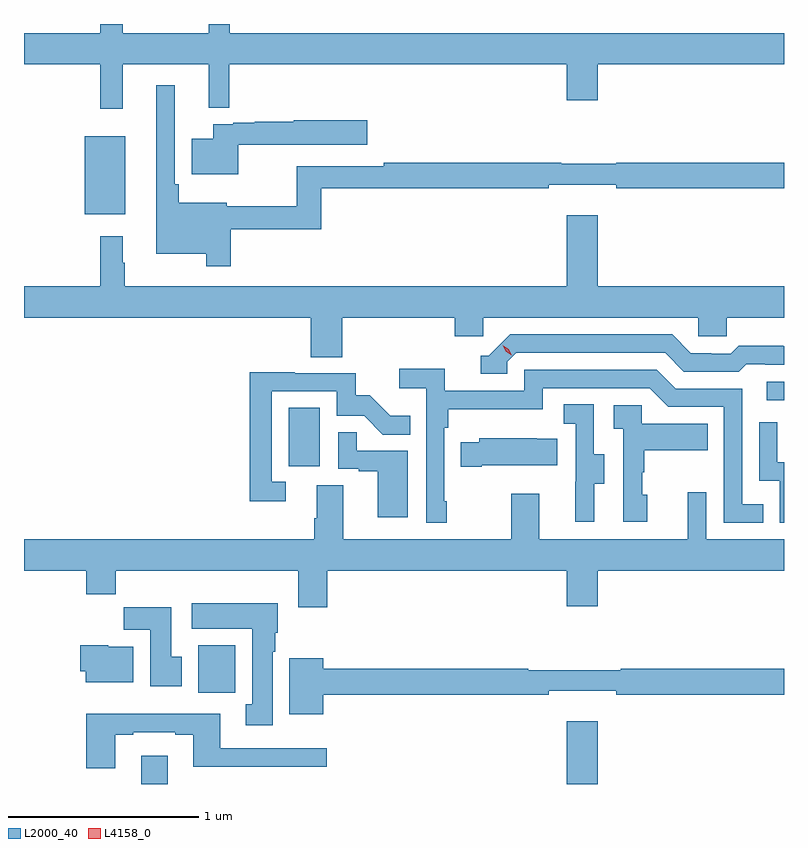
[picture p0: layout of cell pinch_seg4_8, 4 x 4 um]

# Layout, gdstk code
import gdstk
lib = gdstk.Library(unit=1e-6, precision=1e-09)
def R(c, l, rs):  # rectangles x0, y0, x1, y1
    for r in rs: c.add(gdstk.rectangle(r[:2], r[2:], *l))
def P(c, l, *ps):  # polygons
    for p in ps: c.add(gdstk.Polygon(p, *l))
L2000_40 = (2000, 40)
L4158_0 = (4158, 0)

pinch_seg4_8 = lib.new_cell('pinch_seg4_8')
R(pinch_seg4_8, L2000_40, [(1097.831,813.013,1097.971,813.163), (1100.072,813.013,1100.236,813.343), (1098.131,813.492,1098.327,813.742), (1098.608,814.686,1098.772,814.993), (1101.123,815.034,1101.215,815.13), (1097.534,816.011,1097.749,816.421)])
P(pinch_seg4_8, L2000_40, [(1097.735,816.8),(1098.188,816.8),(1098.188,816.571),(1098.296,816.571),(1098.296,816.8),(1100.072,816.8),(1100.072,816.612),(1100.236,816.612),(1100.236,816.8),(1101.215,816.8),(1101.215,816.964),(1098.298,816.964),(1098.298,817.013),(1098.188,817.013),(1098.188,816.964),(1097.735,816.964),(1097.735,817.013),(1097.617,817.013),(1097.617,816.964),(1097.215,816.964),(1097.215,816.8),(1097.617,816.8),(1097.617,816.567),(1097.735,816.567)],
  [(1098.302,815.934),(1098.779,815.934),(1098.779,816.148),(1099.976,816.148),(1099.976,816.167),(1100.332,816.167),(1100.332,816.148),(1101.215,816.148),(1101.215,816.284),(1100.332,816.284),(1100.332,816.277),(1100.043,816.277),(1100.043,816.284),(1099.108,816.284),(1099.108,816.264),(1098.651,816.264),(1098.651,816.055),(1098.283,816.055),(1098.283,816.073),(1098.029,816.073),(1098.029,816.169),(1098.009,816.169),(1098.009,816.691),(1097.912,816.691),(1097.912,815.804),(1098.174,815.804),(1098.174,815.739),(1098.302,815.739)],
  [(1098.342,816.378),(1098.636,816.378),(1098.636,816.377),(1099.021,816.377),(1099.021,816.507),(1098.636,816.507),(1098.636,816.499),(1098.43,816.499),(1098.43,816.492),(1098.316,816.492),(1098.316,816.486),(1098.212,816.486),(1098.212,816.409),(1098.098,816.409),(1098.098,816.221),(1098.342,816.221)],
  [(1098.89,815.468),(1099.481,815.468),(1099.481,815.37),(1099.632,815.37),(1099.632,815.468),(1100.763,815.468),(1100.763,815.37),(1100.913,815.37),(1100.913,815.468),(1101.215,815.468),(1101.215,815.632),(1100.236,815.632),(1100.236,816.007),(1100.072,816.007),(1100.072,815.632),(1097.746,815.632),(1097.746,815.756),(1097.734,815.756),(1097.734,815.896),(1097.617,815.896),(1097.617,815.632),(1097.215,815.632),(1097.215,815.468),(1098.725,815.468),(1098.725,815.26),(1098.89,815.26)],
  [(1099.758,815.235),(1099.806,815.283),(1100.589,815.283),(1100.688,815.184),(1100.977,815.184),(1101.016,815.223),(1101.115,815.223),(1101.115,815.22),(1101.215,815.22),(1101.215,815.317),(1101.21,815.317),(1101.21,815.32),(1100.977,815.32),(1100.935,815.277),(1100.832,815.277),(1100.832,815.28),(1100.725,815.28),(1100.626,815.379),(1099.773,815.379),(1099.662,815.268),(1099.619,815.268),(1099.619,815.172),(1099.758,815.172)],
  [(1099.441,814.501),(1099.428,814.501),(1099.428,814.889),(1099.448,814.889),(1099.448,814.985),(1099.944,814.985),(1099.944,815.097),(1100.508,815.097),(1100.607,814.998),(1100.898,814.998),(1100.898,814.389),(1101.107,814.389),(1101.107,814.485),(1100.994,814.485),(1100.994,815.094),(1100.644,815.094),(1100.545,815.193),(1099.848,815.193),(1099.848,815.082),(1099.43,815.082),(1099.43,815.198),(1099.191,815.198),(1099.191,815.096),(1099.332,815.096),(1099.332,814.389),(1099.441,814.389)],
  [(1098.592,814.605),(1098.519,814.605),(1098.519,815.079),(1098.861,815.079),(1098.861,814.95),(1099.005,814.95),(1099.103,814.852),(1099.247,814.852),(1099.247,814.951),(1099.143,814.951),(1099.036,815.058),(1098.96,815.058),(1098.96,815.175),(1098.641,815.175),(1098.641,815.18),(1098.403,815.18),(1098.403,814.5),(1098.592,814.5)],
  [(1100.215,814.594),(1100.269,814.594),(1100.269,814.749),(1100.214,814.749),(1100.214,815.012),(1100.055,815.012),(1100.055,814.909),(1100.118,814.909),(1100.118,814.605),(1100.117,814.605),(1100.117,814.392),(1100.215,814.392)],
  [(1100.494,814.536),(1100.469,814.536),(1100.469,814.655),(1100.479,814.655),(1100.479,814.769),(1100.813,814.769),(1100.813,814.909),(1100.466,814.909),(1100.466,815.007),(1100.319,815.007),(1100.319,814.883),(1100.37,814.883),(1100.37,814.392),(1100.494,814.392)],
  [(1101.215,814.706),(1101.18,814.706),(1101.18,814.918),(1101.084,814.918),(1101.084,814.608),(1101.192,814.608),(1101.192,814.389),(1101.215,814.389)],
  [(1099.234,814.767),(1098.965,814.767),(1098.965,814.865),(1098.87,814.865),(1098.87,814.671),(1098.977,814.671),(1098.977,814.659),(1099.076,814.659),(1099.076,814.416),(1099.234,814.416)],
  [(1099.624,814.691),(1100.021,814.691),(1100.021,814.831),(1099.913,814.831),(1099.913,814.834),(1099.611,814.834),(1099.611,814.813),(1099.513,814.813),(1099.513,814.684),(1099.624,814.684)],
  [(1098.812,814.136),(1100.072,814.136),(1100.072,813.948),(1100.236,813.948),(1100.236,814.136),(1101.215,814.136),(1101.215,814.3),(1100.805,814.3),(1100.805,814.549),(1100.708,814.549),(1100.708,814.3),(1099.927,814.3),(1099.927,814.54),(1099.78,814.54),(1099.78,814.3),(1098.895,814.3),(1098.895,814.586),(1098.755,814.586),(1098.755,814.412),(1098.743,814.412),(1098.743,814.3),(1097.215,814.3),(1097.215,814.136),(1097.543,814.136),(1097.543,814.012),(1097.699,814.012),(1097.699,814.136),(1098.659,814.136),(1098.659,813.942),(1098.812,813.942)],
  [(1098.523,813.71),(1098.538,813.71),(1098.538,813.81),(1098.55,813.81),(1098.55,813.964),(1098.099,813.964),(1098.099,813.83),(1098.416,813.83),(1098.416,813.433),(1098.383,813.433),(1098.383,813.321),(1098.523,813.321)],
  [(1098.046,813.684),(1097.989,813.684),(1097.989,813.943),(1097.74,813.943),(1097.74,813.824),(1097.879,813.824),(1097.879,813.528),(1098.046,813.528)],
  [(1097.791,813.736),(1097.658,813.736),(1097.658,813.742),(1097.51,813.742),(1097.51,813.606),(1097.54,813.606),(1097.54,813.548),(1097.791,813.548)],
  [(1098.79,813.484),(1099.976,813.484),(1099.976,813.503),(1100.332,813.503),(1100.332,813.484),(1101.215,813.484),(1101.215,813.62),(1100.355,813.62),(1100.355,813.613),(1099.87,813.613),(1099.87,813.62),(1098.79,813.62),(1098.79,813.676),(1098.611,813.676),(1098.611,813.38),(1098.79,813.38)],
  [(1097.695,813.273),(1097.791,813.273),(1097.791,813.285),(1098.011,813.285),(1098.011,813.273),(1098.107,813.273),(1098.107,813.104),(1098.808,813.104),(1098.808,813.201),(1098.247,813.201),(1098.247,813.382),(1097.543,813.382),(1097.543,813.096),(1097.695,813.096)])
P(pinch_seg4_8, L4158_0, [(1099.782,815.269),(1099.752,815.289),(1099.736,815.322),(1099.736,815.323),(1099.736,815.323),(1099.767,815.302),(1099.783,815.269),(1099.783,815.269)])

lib.write_gds('pinch_seg4_8.gds')
